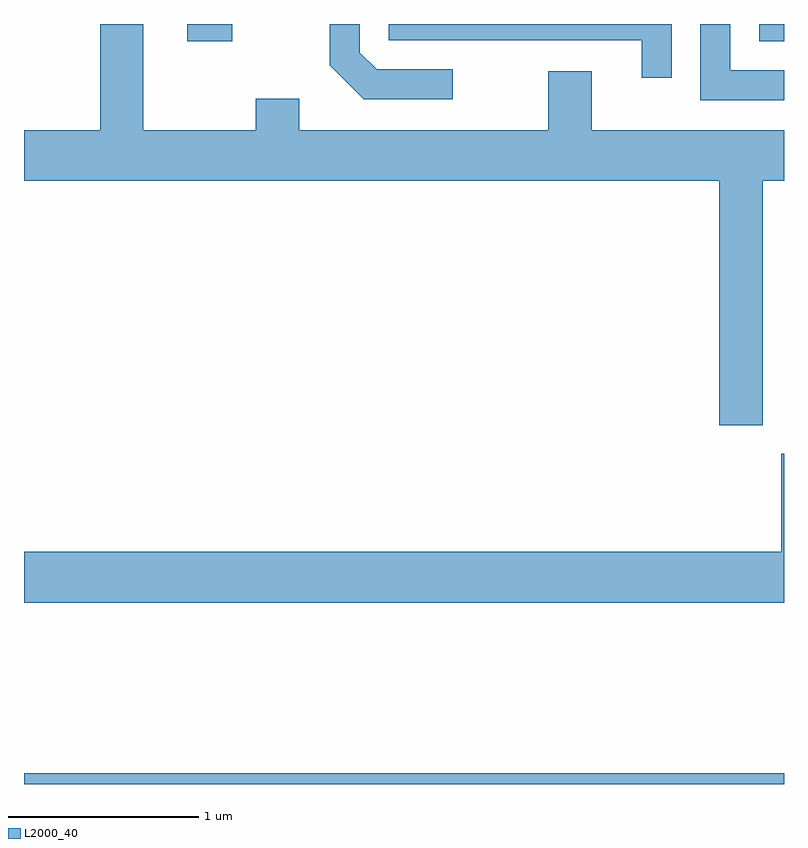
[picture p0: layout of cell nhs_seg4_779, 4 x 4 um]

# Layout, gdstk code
import gdstk
lib = gdstk.Library(unit=1e-6, precision=1e-09)
def R(c, l, rs):  # rectangles x0, y0, x1, y1
    for r in rs: c.add(gdstk.rectangle(r[:2], r[2:], *l))
def P(c, l, *ps):  # polygons
    for p in ps: c.add(gdstk.Polygon(p, *l))
L2000_40 = (2000, 40)

nhs_seg4_779 = lib.new_cell('nhs_seg4_779')
R(nhs_seg4_779, L2000_40, [(207.611,1315.982,211.611,1316.039), (208.471,1319.891,208.708,1319.982), (211.481,1319.891,211.611,1319.982)])
P(nhs_seg4_779, L2000_40, [(211.499,1319.156),(211.611,1319.156),(211.611,1319.424),(210.599,1319.424),(210.599,1319.734),(210.371,1319.734),(210.371,1319.424),(209.059,1319.424),(209.059,1319.589),(208.831,1319.589),(208.831,1319.424),(208.239,1319.424),(208.239,1319.982),(208.011,1319.982),(208.011,1319.424),(207.611,1319.424),(207.611,1319.156),(211.271,1319.156),(211.271,1317.871),(211.499,1317.871)],
  [(211.611,1319.739),(211.329,1319.739),(211.329,1319.982),(211.171,1319.982),(211.171,1319.581),(211.611,1319.581)],
  [(209.868,1319.744),(209.467,1319.744),(209.379,1319.832),(209.379,1319.982),(209.221,1319.982),(209.221,1319.764),(209.399,1319.586),(209.868,1319.586)],
  [(211.019,1319.982),(209.531,1319.982),(209.531,1319.896),(210.861,1319.896),(210.861,1319.698),(211.019,1319.698)],
  [(211.611,1317.719),(211.596,1317.719),(211.596,1317.204),(207.611,1317.204),(207.611,1316.936),(211.611,1316.936)])

lib.write_gds('nhs_seg4_779.gds')
